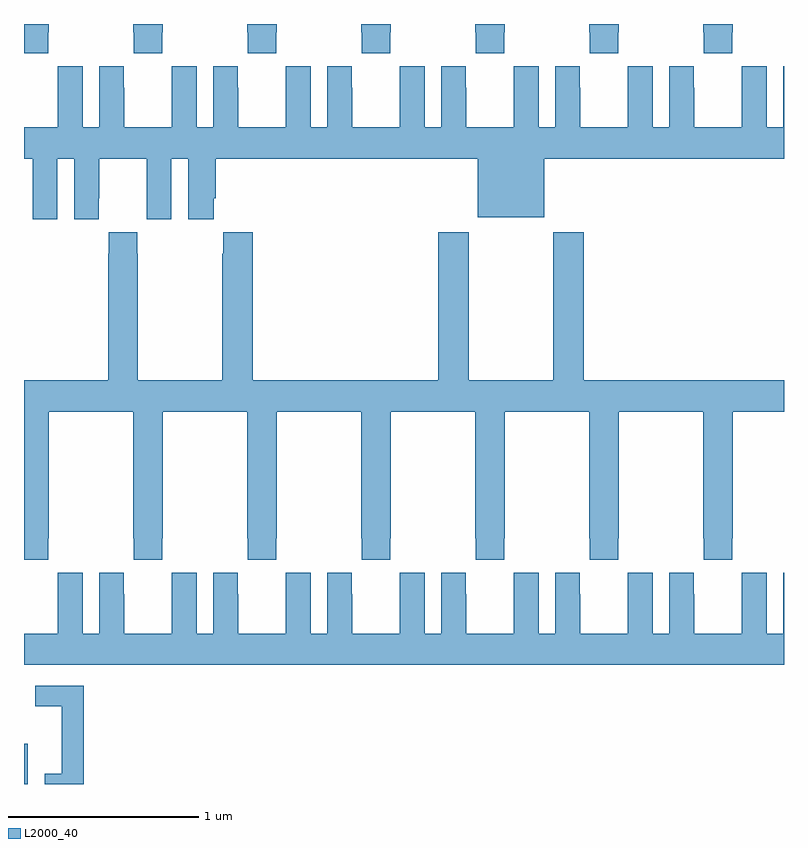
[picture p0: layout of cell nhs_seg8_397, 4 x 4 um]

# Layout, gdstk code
import gdstk
lib = gdstk.Library(unit=1e-6, precision=1e-09)
def R(c, l, rs):  # rectangles x0, y0, x1, y1
    for r in rs: c.add(gdstk.rectangle(r[:2], r[2:], *l))
def P(c, l, *ps):  # polygons
    for p in ps: c.add(gdstk.Polygon(p, *l))
L2000_40 = (2000, 40)

nhs_seg8_397 = lib.new_cell('nhs_seg8_397')
R(nhs_seg8_397, L2000_40, [(137,1087.9,137.019,1088.113)])
P(nhs_seg8_397, L2000_40, [(137.727,1091.857),(137.73,1091.857),(137.73,1091.9),(137.575,1091.9),(137.575,1091.857),(137.577,1091.857),(137.577,1091.745),(137.727,1091.745)],
  [(138.327,1091.857),(138.33,1091.857),(138.33,1091.9),(138.175,1091.9),(138.175,1091.857),(138.177,1091.857),(138.177,1091.745),(138.327,1091.745)],
  [(138.927,1091.857),(138.93,1091.857),(138.93,1091.9),(138.775,1091.9),(138.775,1091.857),(138.777,1091.857),(138.777,1091.745),(138.927,1091.745)],
  [(139.527,1091.857),(139.53,1091.857),(139.53,1091.9),(139.375,1091.9),(139.375,1091.857),(139.377,1091.857),(139.377,1091.745),(139.527,1091.745)],
  [(140.127,1091.857),(140.13,1091.857),(140.13,1091.9),(139.975,1091.9),(139.975,1091.857),(139.977,1091.857),(139.977,1091.745),(140.127,1091.745)],
  [(140.727,1091.857),(140.73,1091.857),(140.73,1091.9),(140.575,1091.9),(140.575,1091.857),(140.577,1091.857),(140.577,1091.745),(140.727,1091.745)],
  [(137.127,1091.857),(137.13,1091.857),(137.13,1091.9),(137,1091.9),(137,1091.745),(137.127,1091.745)],
  [(141,1091.677),(140.996,1091.677),(140.996,1091.356),(140.908,1091.356),(140.908,1091.677),(140.778,1091.677),(140.778,1091.564),(140.777,1091.564),(140.777,1091.356),(140.527,1091.356),(140.527,1091.564),(140.526,1091.564),(140.526,1091.677),(140.396,1091.677),(140.396,1091.356),(140.308,1091.356),(140.308,1091.677),(140.178,1091.677),(140.178,1091.564),(140.177,1091.564),(140.177,1091.356),(139.927,1091.356),(139.927,1091.564),(139.926,1091.564),(139.926,1091.677),(139.796,1091.677),(139.796,1091.356),(139.708,1091.356),(139.708,1091.677),(139.578,1091.677),(139.578,1091.564),(139.577,1091.564),(139.577,1091.356),(139.327,1091.356),(139.327,1091.564),(139.326,1091.564),(139.326,1091.677),(139.196,1091.677),(139.196,1091.356),(139.108,1091.356),(139.108,1091.677),(138.978,1091.677),(138.978,1091.564),(138.977,1091.564),(138.977,1091.356),(138.727,1091.356),(138.727,1091.564),(138.726,1091.564),(138.726,1091.677),(138.596,1091.677),(138.596,1091.356),(138.508,1091.356),(138.508,1091.677),(138.378,1091.677),(138.378,1091.564),(138.377,1091.564),(138.377,1091.356),(138.127,1091.356),(138.127,1091.564),(138.126,1091.564),(138.126,1091.677),(137.996,1091.677),(137.996,1091.356),(137.908,1091.356),(137.908,1091.677),(137.778,1091.677),(137.778,1091.564),(137.777,1091.564),(137.777,1091.356),(137.527,1091.356),(137.527,1091.564),(137.526,1091.564),(137.526,1091.677),(137.396,1091.677),(137.396,1091.356),(137.308,1091.356),(137.308,1091.677),(137.178,1091.677),(137.178,1091.564),(137.177,1091.564),(137.177,1091.356),(137,1091.356),(137,1091.192),(137.045,1091.192),(137.045,1090.984),(137.046,1090.984),(137.046,1090.872),(137.176,1090.872),(137.176,1091.192),(137.264,1091.192),(137.264,1090.872),(137.394,1090.872),(137.394,1090.984),(137.395,1090.984),(137.395,1091.192),(137.645,1091.192),(137.645,1090.984),(137.646,1090.984),(137.646,1090.872),(137.776,1090.872),(137.776,1091.192),(137.864,1091.192),(137.864,1090.872),(137.998,1090.872),(137.998,1090.984),(138.008,1090.984),(138.008,1091.192),(139.388,1091.192),(139.388,1090.883),(139.738,1090.883),(139.738,1091.192),(141,1091.192)],
  [(137.127,1089.193),(137.13,1089.193),(137.13,1089.86),(137.575,1089.86),(137.575,1089.193),(137.577,1089.193),(137.577,1089.081),(137.727,1089.081),(137.727,1089.193),(137.73,1089.193),(137.73,1089.86),(138.175,1089.86),(138.175,1089.193),(138.177,1089.193),(138.177,1089.081),(138.327,1089.081),(138.327,1089.193),(138.33,1089.193),(138.33,1089.86),(138.775,1089.86),(138.775,1089.193),(138.777,1089.193),(138.777,1089.081),(138.927,1089.081),(138.927,1089.193),(138.93,1089.193),(138.93,1089.86),(139.375,1089.86),(139.375,1089.193),(139.377,1089.193),(139.377,1089.081),(139.527,1089.081),(139.527,1089.193),(139.53,1089.193),(139.53,1089.86),(139.975,1089.86),(139.975,1089.193),(139.977,1089.193),(139.977,1089.081),(140.127,1089.081),(140.127,1089.193),(140.13,1089.193),(140.13,1089.86),(140.575,1089.86),(140.575,1089.193),(140.577,1089.193),(140.577,1089.081),(140.727,1089.081),(140.727,1089.193),(140.73,1089.193),(140.73,1089.86),(141,1089.86),(141,1090.024),(139.946,1090.024),(139.946,1090.804),(139.786,1090.804),(139.786,1090.024),(139.341,1090.024),(139.341,1090.804),(139.181,1090.804),(139.181,1090.024),(138.203,1090.024),(138.203,1090.804),(138.049,1090.804),(138.049,1090.691),(138.043,1090.691),(138.043,1090.024),(137.598,1090.024),(137.598,1090.691),(137.595,1090.691),(137.595,1090.804),(137.445,1090.804),(137.445,1090.691),(137.443,1090.691),(137.443,1090.024),(137,1090.024),(137,1089.081),(137.127,1089.081)],
  [(141,1089.013),(140.996,1089.013),(140.996,1088.692),(140.908,1088.692),(140.908,1089.013),(140.778,1089.013),(140.778,1088.9),(140.777,1088.9),(140.777,1088.692),(140.527,1088.692),(140.527,1088.9),(140.526,1088.9),(140.526,1089.013),(140.396,1089.013),(140.396,1088.692),(140.308,1088.692),(140.308,1089.013),(140.178,1089.013),(140.178,1088.9),(140.177,1088.9),(140.177,1088.692),(139.927,1088.692),(139.927,1088.9),(139.926,1088.9),(139.926,1089.013),(139.796,1089.013),(139.796,1088.692),(139.708,1088.692),(139.708,1089.013),(139.578,1089.013),(139.578,1088.9),(139.577,1088.9),(139.577,1088.692),(139.327,1088.692),(139.327,1088.9),(139.326,1088.9),(139.326,1089.013),(139.196,1089.013),(139.196,1088.692),(139.108,1088.692),(139.108,1089.013),(138.978,1089.013),(138.978,1088.9),(138.977,1088.9),(138.977,1088.692),(138.727,1088.692),(138.727,1088.9),(138.726,1088.9),(138.726,1089.013),(138.596,1089.013),(138.596,1088.692),(138.508,1088.692),(138.508,1089.013),(138.378,1089.013),(138.378,1088.9),(138.377,1088.9),(138.377,1088.692),(138.127,1088.692),(138.127,1088.9),(138.126,1088.9),(138.126,1089.013),(137.996,1089.013),(137.996,1088.692),(137.908,1088.692),(137.908,1089.013),(137.778,1089.013),(137.778,1088.9),(137.777,1088.9),(137.777,1088.692),(137.527,1088.692),(137.527,1088.9),(137.526,1088.9),(137.526,1089.013),(137.396,1089.013),(137.396,1088.692),(137.308,1088.692),(137.308,1089.013),(137.178,1089.013),(137.178,1088.9),(137.177,1088.9),(137.177,1088.692),(137,1088.692),(137,1088.528),(141,1088.528)],
  [(137.315,1088.418),(137.058,1088.418),(137.058,1088.31),(137.198,1088.31),(137.198,1087.954),(137.108,1087.954),(137.108,1087.9),(137.315,1087.9)])

lib.write_gds('nhs_seg8_397.gds')
